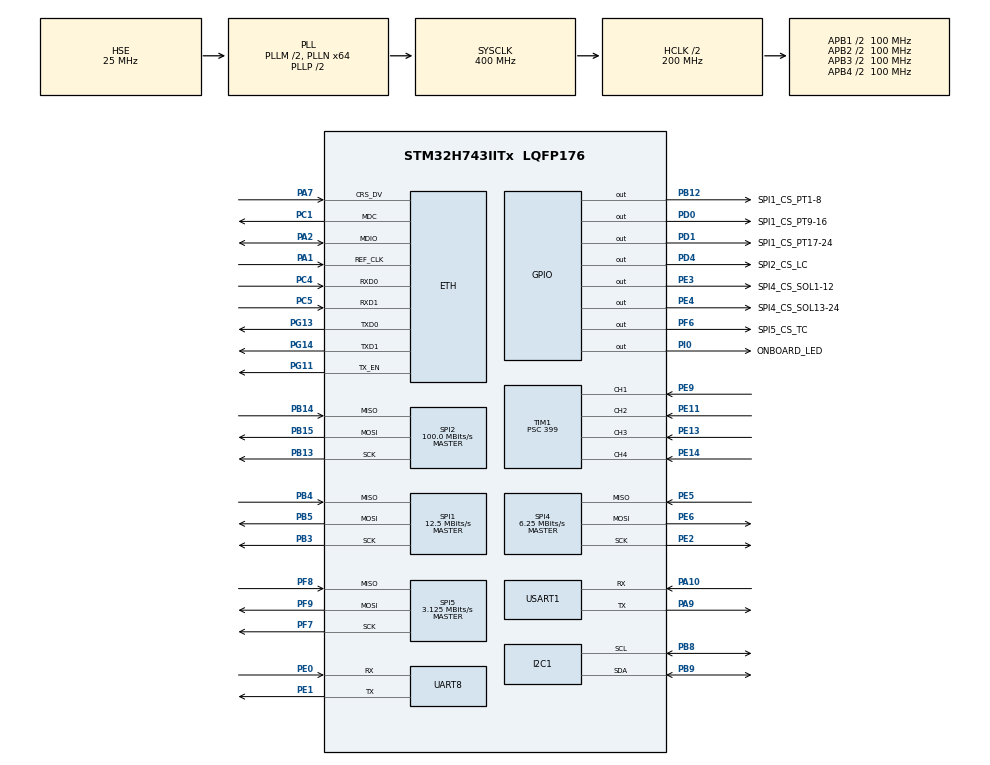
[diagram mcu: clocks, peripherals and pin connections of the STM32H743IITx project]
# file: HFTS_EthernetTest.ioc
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CORTEX_M7.AccessPermission_Spec=MPU_REGION_FULL_ACCESS
CORTEX_M7.BaseAddress_Spec=0x30000000
CORTEX_M7.CPU_DCache=Enabled
CORTEX_M7.CPU_ICache=Enabled
CORTEX_M7.Size_Spec=MPU_REGION_SIZE_64KB
CORTEX_M7.SubRegionDisable_Spec=0x00
CORTEX_M7.default_mode_Activation=1
ETH.MACAddr=02\:00\:00\:00\:00\:01
ETH.MediaInterface=HAL_ETH_RMII_MODE
I2C1.Timing=0x10C0ECFF
LWIP.BSP.number=1
LWIP.ETH_PAD_SIZE=2
LWIP.IP_ADDRESS=192.168.001.050
LWIP.LWIP_DHCP=0
LWIP.MEM_SIZE=16384
LWIP.NETMASK_ADDRESS=255.255.255.000
LWIP.Version=v2.1.2_Cube
LWIP0.BSP.STBoard=false
LWIP0.BSP.api=BSP_COMPONENT_DRIVER
LWIP0.BSP.component=USER_PHY
LWIP0.BSP.instance=USER_PHY
LWIP0.BSP.name=Driver_PHY
LWIP0.BSP.semaphore=S_USER_PHY
LWIP0.BSP.solution=USER_PHY
Mcu.Family=STM32H7
Mcu.Name=STM32H743IITx
Mcu.Package=LQFP176
Mcu.UserConstants=I2C1_BUS_HZ,100000;TMP117_ADDRESS,0b1001000x
NVIC.ETH_IRQn=true\:0\:0\:false\:false\:true\:true\:true\:true
NVIC.PriorityGroup=NVIC_PRIORITYGROUP_4
NVIC.TIM1_CC_IRQn=true\:0\:0\:false\:false\:true\:true\:true\:true
PA1.Mode=RMII
PA1.Signal=ETH_REF_CLK
PA10.Mode=Asynchronous
PA10.Signal=USART1_RX
PA13\ (JTMS/SWDIO).Mode=Serial_Wire
PA13\ (JTMS/SWDIO).Signal=DEBUG_JTMS-SWDIO
PA14\ (JTCK/SWCLK).Mode=Serial_Wire
PA14\ (JTCK/SWCLK).Signal=DEBUG_JTCK-SWCLK
PA2.Mode=RMII
PA2.Signal=ETH_MDIO
PA7.Mode=RMII
PA7.Signal=ETH_CRS_DV
PA9.Mode=Asynchronous
PA9.Signal=USART1_TX
PB12.GPIO_Label=SPI1_CS_PT1-8
PB12.PinState=GPIO_PIN_SET
PB12.Signal=GPIO_Output
PB13.Mode=Full_Duplex_Master
PB13.Signal=SPI2_SCK
PB14.Mode=Full_Duplex_Master
PB14.Signal=SPI2_MISO
PB15.Mode=Full_Duplex_Master
PB15.Signal=SPI2_MOSI
PB3\ (JTDO/TRACESWO).Mode=Full_Duplex_Master
PB3\ (JTDO/TRACESWO).Signal=SPI1_SCK
PB4\ (NJTRST).Mode=Full_Duplex_Master
PB4\ (NJTRST).Signal=SPI1_MISO
PB5.Mode=Full_Duplex_Master
PB5.Signal=SPI1_MOSI
PB8.Mode=I2C
PB8.Signal=I2C1_SCL
PB9.Mode=I2C
PB9.Signal=I2C1_SDA
PC1.Mode=RMII
PC1.Signal=ETH_MDC
PC4.Mode=RMII
PC4.Signal=ETH_RXD0
PC5.Mode=RMII
PC5.Signal=ETH_RXD1
PD0.GPIO_Label=SPI1_CS_PT9-16
PD0.PinState=GPIO_PIN_SET
PD0.Signal=GPIO_Output
PD1.GPIO_Label=SPI1_CS_PT17-24
PD1.PinState=GPIO_PIN_SET
PD1.Signal=GPIO_Output
PD4.GPIO_Label=SPI2_CS_LC
PD4.PinState=GPIO_PIN_SET
PD4.Signal=GPIO_Output
PE0.Mode=Asynchronous
PE0.Signal=UART8_RX
PE1.Mode=Asynchronous
PE1.Signal=UART8_TX
PE11.Signal=S_TIM1_CH2
PE13.Signal=S_TIM1_CH3
PE14.Signal=S_TIM1_CH4
PE2.Mode=Full_Duplex_Master
PE2.Signal=SPI4_SCK
PE3.GPIO_Label=SPI4_CS_SOL1-12
PE3.PinState=GPIO_PIN_SET
PE3.Signal=GPIO_Output
PE4.GPIO_Label=SPI4_CS_SOL13-24
PE4.PinState=GPIO_PIN_SET
PE4.Signal=GPIO_Output
PE5.Mode=Full_Duplex_Master
PE5.Signal=SPI4_MISO
PE6.Mode=Full_Duplex_Master
PE6.Signal=SPI4_MOSI
PE9.Signal=S_TIM1_CH1
PF6.GPIO_Label=SPI5_CS_TC
PF6.PinState=GPIO_PIN_SET
PF6.Signal=GPIO_Output
PF7.Mode=Full_Duplex_Master
PF7.Signal=SPI5_SCK
PF8.Mode=Full_Duplex_Master
PF8.Signal=SPI5_MISO
PF9.Mode=Full_Duplex_Master
PF9.Signal=SPI5_MOSI
PG11.Mode=RMII
PG11.Signal=ETH_TX_EN
PG13.Mode=RMII
PG13.Signal=ETH_TXD0
PG14.Mode=RMII
PG14.Signal=ETH_TXD1
PH0-OSC_IN\ (PH0).Mode=HSE-External-Oscillator
PH0-OSC_IN\ (PH0).Signal=RCC_OSC_IN
PH1-OSC_OUT\ (PH1).Mode=HSE-External-Oscillator
PH1-OSC_OUT\ (PH1).Signal=RCC_OSC_OUT
PI0.GPIO_Label=ONBOARD_LED
PI0.Signal=GPIO_Output
ProjectManager.HeapSize=0x200
ProjectManager.StackSize=0x400
ProjectManager.TargetToolchain=STM32CubeIDE
RCC.ADCFreq_Value=50000000
RCC.APB1Freq_Value=100000000
RCC.APB2Freq_Value=100000000
RCC.APB3Freq_Value=100000000
RCC.APB4Freq_Value=100000000
RCC.CortexFreq_Value=400000000
RCC.D1PPRE=RCC_APB3_DIV2
RCC.D2PPRE1=RCC_APB1_DIV2
RCC.D2PPRE2=RCC_APB2_DIV2
RCC.D3PPRE=RCC_APB4_DIV2
RCC.DIVM1=2
RCC.DIVM2=2
RCC.DIVN1=64
RCC.DIVN2=16
RCC.DIVP2=4
RCC.DIVQ1=4
RCC.DIVQ2=4
RCC.HCLKFreq_Value=200000000
RCC.HPRE=RCC_HCLK_DIV2
RCC.PLL2FRACN=0
RCC.PLL3FRACN=0
RCC.PLLFRACN=0
RCC.PLLSourceVirtual=RCC_PLLSOURCE_HSE
RCC.SYSCLKFreq_VALUE=400000000
RCC.SYSCLKSource=RCC_SYSCLKSOURCE_PLLCLK
RCC.Spi45ClockSelection=RCC_SPI45CLKSOURCE_PLL2
RCC.USBFreq_Value=200000000
SH.S_TIM1_CH1.0=TIM1_CH1,Input_Capture1_from_TI1
SH.S_TIM1_CH2.0=TIM1_CH2,Input_Capture2_from_TI2
SH.S_TIM1_CH3.0=TIM1_CH3,Input_Capture3_from_TI3
SH.S_TIM1_CH4.0=TIM1_CH4,Input_Capture4_from_TI4
SPI1.BaudRatePrescaler=SPI_BAUDRATEPRESCALER_16
SPI1.CalculateBaudRate=12.5 MBits/s
SPI1.Direction=SPI_DIRECTION_2LINES
SPI1.Mode=SPI_MODE_MASTER
SPI1.VirtualType=VM_MASTER
SPI2.CalculateBaudRate=100.0 MBits/s
SPI2.Direction=SPI_DIRECTION_2LINES
SPI2.Mode=SPI_MODE_MASTER
SPI2.VirtualType=VM_MASTER
SPI4.BaudRatePrescaler=SPI_BAUDRATEPRESCALER_8
SPI4.CalculateBaudRate=6.25 MBits/s
SPI4.Direction=SPI_DIRECTION_2LINES
SPI4.Mode=SPI_MODE_MASTER
SPI4.VirtualType=VM_MASTER
SPI5.BaudRatePrescaler=SPI_BAUDRATEPRESCALER_16
SPI5.CalculateBaudRate=3.125 MBits/s
SPI5.Direction=SPI_DIRECTION_2LINES
SPI5.Mode=SPI_MODE_MASTER
SPI5.VirtualType=VM_MASTER
TIM1.Channel-Input_Capture1_from_TI1=TIM_CHANNEL_1
TIM1.Channel-Input_Capture2_from_TI2=TIM_CHANNEL_2
TIM1.Channel-Input_Capture3_from_TI3=TIM_CHANNEL_3
TIM1.Channel-Input_Capture4_from_TI4=TIM_CHANNEL_4
TIM1.ICFilter_CH1=2
TIM1.Prescaler=399
USART1.VirtualMode-Asynchronous=VM_ASYNC
VP_LWIP_VS_Enabled.Mode=Enabled
VP_MEMORYMAP_VS_MEMORYMAP.Mode=CurAppReg
VP_TIM1_VS_ClockSourceINT.Mode=Internal
board=custom

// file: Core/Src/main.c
/* USER CODE BEGIN Header */
/**
  ******************************************************************************
  * @file           : main.c
  * @brief          : Main program body
  ******************************************************************************
  * @attention
  *
  * Copyright (c) 2026 STMicroelectronics.
  * All rights reserved.
  *
  * This software is licensed under terms that can be found in the LICENSE file
  * in the root directory of this software component.
  * If no LICENSE file comes with this software, it is provided AS-IS.
  *
  ******************************************************************************
  */
/* USER CODE END Header */
#include "main.h"
#include "lwip.h"

/* USER CODE BEGIN Includes */
#include "eth_debug.h"
#include "ksz8081_diag.h"
/* Access LwIP netif for gratuitous ARP */
#include "lwip/etharp.h"
extern struct netif gnetif;
/* USER CODE END Includes */

I2C_HandleTypeDef hi2c1;

SPI_HandleTypeDef hspi1;
SPI_HandleTypeDef hspi2;
SPI_HandleTypeDef hspi4;
SPI_HandleTypeDef hspi5;

TIM_HandleTypeDef htim1;

UART_HandleTypeDef huart8;
UART_HandleTypeDef huart1;

/* USER CODE BEGIN PV */
extern ETH_DMADescTypeDef DMARxDscrTab[];
extern ETH_HandleTypeDef heth;
volatile uint32_t g_rx_desc0_addr = 0;
/* USER CODE END PV */

void SystemClock_Config(void);
void PeriphCommonClock_Config(void);
static void MPU_Config(void);
static void MX_GPIO_Init(void);
static void MX_TIM1_Init(void);
static void MX_I2C1_Init(void);
static void MX_SPI1_Init(void);
static void MX_SPI2_Init(void);
static void MX_SPI4_Init(void);
static void MX_SPI5_Init(void);
static void MX_UART8_Init(void);
static void MX_USART1_UART_Init(void);

int main(void)
{

  /* MPU Configuration--------------------------------------------------------*/
  MPU_Config();

  /* Enable the CPU Cache */

  /* Enable I-Cache---------------------------------------------------------*/
  SCB_EnableICache();

  /* Enable D-Cache---------------------------------------------------------*/
  SCB_EnableDCache();

  /* MCU Configuration--------------------------------------------------------*/

  /* Reset of all peripherals, Initializes the Flash interface and the Systick. */
  HAL_Init();

  /* USER CODE BEGIN Init */
  SCB->CCR &= ~SCB_CCR_UNALIGN_TRP_Msk;
  /* USER CODE END Init */

  /* Configure the system clock */
  SystemClock_Config();

  /* Configure the peripherals common clocks */
  PeriphCommonClock_Config();

  /* Initialize all configured peripherals */
  MX_GPIO_Init();
  MX_TIM1_Init();
  MX_I2C1_Init();
  MX_SPI1_Init();
  MX_SPI2_Init();
  MX_SPI4_Init();
  MX_SPI5_Init();
  MX_UART8_Init();
  MX_USART1_UART_Init();
  MX_LWIP_Init();
  /* USER CODE BEGIN 2 */
  /* Populate g_ksz8081_diag for live-view in debugger. */
  (void)ksz8081_strap_check(NULL);

  /* USER CODE END 2 */

  /* Infinite loop */
  while (1)
  {

    /* USER CODE BEGIN 3 */
	  /* Poll LwIP multiple times so we catch ARP/UDP quickly (before slow PHY reads). */
	  {
	    int poll_i;
	    for (poll_i = 0; poll_i < 20; poll_i++) {
	      MX_LWIP_Process();
	    }
	  }

	  /* --- Live interrupt state sampling --- */
	  g_primask   = __get_PRIMASK();
	  g_basepri   = __get_BASEPRI();
	  g_faultmask = __get_FAULTMASK();

	  /* NVIC pending state for ETH IRQ */
	  g_eth_ispr = NVIC->ISPR[ETH_IRQn / 32];
	  g_eth_iser = NVIC->ISER[ETH_IRQn / 32];
	  g_eth_icer = NVIC->ICER[ETH_IRQn / 32];
	  /* IPR is byte-addressed priorities */
	  g_eth_itype = ((volatile uint8_t*)NVIC->IP)[ETH_IRQn];

	  /* DMA interrupt registers */
	  g_eth_dmacier = ETH->DMACIER;
	  g_eth_dmacsr  = ETH->DMACSR;
	  /* MAC interrupt enable/status */
	  g_eth_macier  = ETH->MACIER;
	  g_eth_macisr  = ETH->MACISR;
	  g_eth_maciasr = ETH->MACISR;

	  /* RX descriptor 0..3 RDES3 (OWN=31, CTXT=30, FD=29, LD=28) */
	  g_rx_desc0_status = DMARxDscrTab[0].DESC0;
	  g_rx_desc0_buffer = DMARxDscrTab[0].DESC2;
	  g_rx_desc0_rdes3  = DMARxDscrTab[0].DESC3;
	  g_rx_desc1_rdes3  = DMARxDscrTab[1].DESC3;
	  g_rx_desc2_rdes3  = DMARxDscrTab[2].DESC3;
	  g_rx_desc3_rdes3  = DMARxDscrTab[3].DESC3;
	  g_rx_desc0_addr = (uint32_t)&DMARxDscrTab[0];
	  g_pa_idr = GPIOA->IDR;
	  g_pc_idr = GPIOC->IDR;

	  /* --- PHY register sampling (every 50th loop to keep main loop fast for ARP/RX) --- */
	  {
	    static uint32_t phy_sample_cnt;
	    if ((++phy_sample_cnt % 50U) == 0U) {
	      uint32_t val;
	      HAL_ETH_ReadPHYRegister(&heth, 0, 0x00, &val);
	      g_phy_reg0 = val;
	      HAL_ETH_ReadPHYRegister(&heth, 0, 0x01, &val);
	      g_phy_reg1 = val;
	      HAL_ETH_ReadPHYRegister(&heth, 0, 0x1F, &val);
	      g_phy_reg1F = val;
	    }
	  }

	  uint32_t now_ms = HAL_GetTick();

	  /* Send gratuitous ARP every 1s so PC learns 192.168.1.50 -> our MAC (works even if RX is broken). */
	  {
	    static uint32_t last_garp_ms;
	    if (g_link_up && (now_ms - last_garp_ms >= 1000U)) {
	      etharp_gratuitous(&gnetif);
	      last_garp_ms = now_ms;
	    }
	  }

	  /* --- RMII digital pin sampling --- */
	  g_rmii_crs_dv = (GPIOA->IDR >> 7) & 1U;
	  g_rmii_rxd0   = (GPIOC->IDR >> 4) & 1U;
	  g_rmii_rxd1   = (GPIOC->IDR >> 5) & 1U;

	  /* --- RX descriptor inspection --- */
	  g_rx_desc0_d0 = DMARxDscrTab[0].DESC0;
	  g_rx_desc0_d1 = DMARxDscrTab[0].DESC1;
	  g_rx_desc0_d2 = DMARxDscrTab[0].DESC2;
	  g_rx_desc0_d3 = DMARxDscrTab[0].DESC3;
  }
  /* USER CODE END 3 */
}

void SystemClock_Config(void)
{
  RCC_OscInitTypeDef RCC_OscInitStruct = {0};
  RCC_ClkInitTypeDef RCC_ClkInitStruct = {0};

  /** Supply configuration update enable
  */
  HAL_PWREx_ConfigSupply(PWR_LDO_SUPPLY);

  /** Configure the main internal regulator output voltage
  */
  __HAL_PWR_VOLTAGESCALING_CONFIG(PWR_REGULATOR_VOLTAGE_SCALE1);

  while(!__HAL_PWR_GET_FLAG(PWR_FLAG_VOSRDY)) {}

  /** Initializes the RCC Oscillators according to the specified parameters
  * in the RCC_OscInitTypeDef structure.
  */
  RCC_OscInitStruct.OscillatorType = RCC_OSCILLATORTYPE_HSE;
  RCC_OscInitStruct.HSEState = RCC_HSE_ON;
  RCC_OscInitStruct.PLL.PLLState = RCC_PLL_ON;
  RCC_OscInitStruct.PLL.PLLSource = RCC_PLLSOURCE_HSE;
  RCC_OscInitStruct.PLL.PLLM = 2;
  RCC_OscInitStruct.PLL.PLLN = 64;
  RCC_OscInitStruct.PLL.PLLP = 2;
  RCC_OscInitStruct.PLL.PLLQ = 4;
  RCC_OscInitStruct.PLL.PLLR = 2;
  RCC_OscInitStruct.PLL.PLLRGE = RCC_PLL1VCIRANGE_3;
  RCC_OscInitStruct.PLL.PLLVCOSEL = RCC_PLL1VCOWIDE;
  RCC_OscInitStruct.PLL.PLLFRACN = 0;
  if (HAL_RCC_OscConfig(&RCC_OscInitStruct) != HAL_OK)
  {
    Error_Handler();
  }

  /** Initializes the CPU, AHB and APB buses clocks
  */
  RCC_ClkInitStruct.ClockType = RCC_CLOCKTYPE_HCLK|RCC_CLOCKTYPE_SYSCLK
                              |RCC_CLOCKTYPE_PCLK1|RCC_CLOCKTYPE_PCLK2
                              |RCC_CLOCKTYPE_D3PCLK1|RCC_CLOCKTYPE_D1PCLK1;
  RCC_ClkInitStruct.SYSCLKSource = RCC_SYSCLKSOURCE_PLLCLK;
  RCC_ClkInitStruct.SYSCLKDivider = RCC_SYSCLK_DIV1;
  RCC_ClkInitStruct.AHBCLKDivider = RCC_HCLK_DIV2;
  RCC_ClkInitStruct.APB3CLKDivider = RCC_APB3_DIV2;
  RCC_ClkInitStruct.APB1CLKDivider = RCC_APB1_DIV2;
  RCC_ClkInitStruct.APB2CLKDivider = RCC_APB2_DIV2;
  RCC_ClkInitStruct.APB4CLKDivider = RCC_APB4_DIV2;

  if (HAL_RCC_ClockConfig(&RCC_ClkInitStruct, FLASH_LATENCY_2) != HAL_OK)
  {
    Error_Handler();
  }
}

void PeriphCommonClock_Config(void)
{
  RCC_PeriphCLKInitTypeDef PeriphClkInitStruct = {0};

  /** Initializes the peripherals clock
  */
  PeriphClkInitStruct.PeriphClockSelection = RCC_PERIPHCLK_SPI4|RCC_PERIPHCLK_SPI5;
  PeriphClkInitStruct.PLL2.PLL2M = 2;
  PeriphClkInitStruct.PLL2.PLL2N = 16;
  PeriphClkInitStruct.PLL2.PLL2P = 4;
  PeriphClkInitStruct.PLL2.PLL2Q = 4;
  PeriphClkInitStruct.PLL2.PLL2R = 2;
  PeriphClkInitStruct.PLL2.PLL2RGE = RCC_PLL2VCIRANGE_3;
  PeriphClkInitStruct.PLL2.PLL2VCOSEL = RCC_PLL2VCOWIDE;
  PeriphClkInitStruct.PLL2.PLL2FRACN = 0;
  PeriphClkInitStruct.Spi45ClockSelection = RCC_SPI45CLKSOURCE_PLL2;
  if (HAL_RCCEx_PeriphCLKConfig(&PeriphClkInitStruct) != HAL_OK)
  {
    Error_Handler();
  }
}

static void MX_I2C1_Init(void)
{

  hi2c1.Instance = I2C1;
  hi2c1.Init.Timing = 0x10C0ECFF;
  hi2c1.Init.OwnAddress1 = 0;
  hi2c1.Init.AddressingMode = I2C_ADDRESSINGMODE_7BIT;
  hi2c1.Init.DualAddressMode = I2C_DUALADDRESS_DISABLE;
  hi2c1.Init.OwnAddress2 = 0;
  hi2c1.Init.OwnAddress2Masks = I2C_OA2_NOMASK;
  hi2c1.Init.GeneralCallMode = I2C_GENERALCALL_DISABLE;
  hi2c1.Init.NoStretchMode = I2C_NOSTRETCH_DISABLE;
  if (HAL_I2C_Init(&hi2c1) != HAL_OK)
  {
    Error_Handler();
  }

  /** Configure Analogue filter
  */
  if (HAL_I2CEx_ConfigAnalogFilter(&hi2c1, I2C_ANALOGFILTER_ENABLE) != HAL_OK)
  {
    Error_Handler();
  }

  /** Configure Digital filter
  */
  if (HAL_I2CEx_ConfigDigitalFilter(&hi2c1, 0) != HAL_OK)
  {
    Error_Handler();
  }

}

static void MX_SPI1_Init(void)
{

  /* SPI1 parameter configuration*/
  hspi1.Instance = SPI1;
  hspi1.Init.Mode = SPI_MODE_MASTER;
  hspi1.Init.Direction = SPI_DIRECTION_2LINES;
  hspi1.Init.DataSize = SPI_DATASIZE_4BIT;
  hspi1.Init.CLKPolarity = SPI_POLARITY_LOW;
  hspi1.Init.CLKPhase = SPI_PHASE_1EDGE;
  hspi1.Init.NSS = SPI_NSS_SOFT;
  hspi1.Init.BaudRatePrescaler = SPI_BAUDRATEPRESCALER_16;
  hspi1.Init.FirstBit = SPI_FIRSTBIT_MSB;
  hspi1.Init.TIMode = SPI_TIMODE_DISABLE;
  hspi1.Init.CRCCalculation = SPI_CRCCALCULATION_DISABLE;
  hspi1.Init.CRCPolynomial = 0x0;
  hspi1.Init.NSSPMode = SPI_NSS_PULSE_ENABLE;
  hspi1.Init.NSSPolarity = SPI_NSS_POLARITY_LOW;
  hspi1.Init.FifoThreshold = SPI_FIFO_THRESHOLD_01DATA;
  hspi1.Init.TxCRCInitializationPattern = SPI_CRC_INITIALIZATION_ALL_ZERO_PATTERN;
  hspi1.Init.RxCRCInitializationPattern = SPI_CRC_INITIALIZATION_ALL_ZERO_PATTERN;
  hspi1.Init.MasterSSIdleness = SPI_MASTER_SS_IDLENESS_00CYCLE;
  hspi1.Init.MasterInterDataIdleness = SPI_MASTER_INTERDATA_IDLENESS_00CYCLE;
  hspi1.Init.MasterReceiverAutoSusp = SPI_MASTER_RX_AUTOSUSP_DISABLE;
  hspi1.Init.MasterKeepIOState = SPI_MASTER_KEEP_IO_STATE_DISABLE;
  hspi1.Init.IOSwap = SPI_IO_SWAP_DISABLE;
  if (HAL_SPI_Init(&hspi1) != HAL_OK)
  {
    Error_Handler();
  }

}

static void MX_SPI2_Init(void)
{

  /* SPI2 parameter configuration*/
  hspi2.Instance = SPI2;
  hspi2.Init.Mode = SPI_MODE_MASTER;
  hspi2.Init.Direction = SPI_DIRECTION_2LINES;
  hspi2.Init.DataSize = SPI_DATASIZE_4BIT;
  hspi2.Init.CLKPolarity = SPI_POLARITY_LOW;
  hspi2.Init.CLKPhase = SPI_PHASE_1EDGE;
  hspi2.Init.NSS = SPI_NSS_SOFT;
  hspi2.Init.BaudRatePrescaler = SPI_BAUDRATEPRESCALER_2;
  hspi2.Init.FirstBit = SPI_FIRSTBIT_MSB;
  hspi2.Init.TIMode = SPI_TIMODE_DISABLE;
  hspi2.Init.CRCCalculation = SPI_CRCCALCULATION_DISABLE;
  hspi2.Init.CRCPolynomial = 0x0;
  hspi2.Init.NSSPMode = SPI_NSS_PULSE_ENABLE;
  hspi2.Init.NSSPolarity = SPI_NSS_POLARITY_LOW;
  hspi2.Init.FifoThreshold = SPI_FIFO_THRESHOLD_01DATA;
  hspi2.Init.TxCRCInitializationPattern = SPI_CRC_INITIALIZATION_ALL_ZERO_PATTERN;
  hspi2.Init.RxCRCInitializationPattern = SPI_CRC_INITIALIZATION_ALL_ZERO_PATTERN;
  hspi2.Init.MasterSSIdleness = SPI_MASTER_SS_IDLENESS_00CYCLE;
  hspi2.Init.MasterInterDataIdleness = SPI_MASTER_INTERDATA_IDLENESS_00CYCLE;
  hspi2.Init.MasterReceiverAutoSusp = SPI_MASTER_RX_AUTOSUSP_DISABLE;
  hspi2.Init.MasterKeepIOState = SPI_MASTER_KEEP_IO_STATE_DISABLE;
  hspi2.Init.IOSwap = SPI_IO_SWAP_DISABLE;
  if (HAL_SPI_Init(&hspi2) != HAL_OK)
  {
    Error_Handler();
  }

}

static void MX_SPI4_Init(void)
{

  /* SPI4 parameter configuration*/
  hspi4.Instance = SPI4;
  hspi4.Init.Mode = SPI_MODE_MASTER;
  hspi4.Init.Direction = SPI_DIRECTION_2LINES;
  hspi4.Init.DataSize = SPI_DATASIZE_4BIT;
  hspi4.Init.CLKPolarity = SPI_POLARITY_LOW;
  hspi4.Init.CLKPhase = SPI_PHASE_1EDGE;
  hspi4.Init.NSS = SPI_NSS_SOFT;
  hspi4.Init.BaudRatePrescaler = SPI_BAUDRATEPRESCALER_8;
  hspi4.Init.FirstBit = SPI_FIRSTBIT_MSB;
  hspi4.Init.TIMode = SPI_TIMODE_DISABLE;
  hspi4.Init.CRCCalculation = SPI_CRCCALCULATION_DISABLE;
  hspi4.Init.CRCPolynomial = 0x0;
  hspi4.Init.NSSPMode = SPI_NSS_PULSE_ENABLE;
  hspi4.Init.NSSPolarity = SPI_NSS_POLARITY_LOW;
  hspi4.Init.FifoThreshold = SPI_FIFO_THRESHOLD_01DATA;
  hspi4.Init.TxCRCInitializationPattern = SPI_CRC_INITIALIZATION_ALL_ZERO_PATTERN;
  hspi4.Init.RxCRCInitializationPattern = SPI_CRC_INITIALIZATION_ALL_ZERO_PATTERN;
  hspi4.Init.MasterSSIdleness = SPI_MASTER_SS_IDLENESS_00CYCLE;
  hspi4.Init.MasterInterDataIdleness = SPI_MASTER_INTERDATA_IDLENESS_00CYCLE;
  hspi4.Init.MasterReceiverAutoSusp = SPI_MASTER_RX_AUTOSUSP_DISABLE;
  hspi4.Init.MasterKeepIOState = SPI_MASTER_KEEP_IO_STATE_DISABLE;
  hspi4.Init.IOSwap = SPI_IO_SWAP_DISABLE;
  if (HAL_SPI_Init(&hspi4) != HAL_OK)
  {
    Error_Handler();
  }

}

static void MX_SPI5_Init(void)
{

  /* SPI5 parameter configuration*/
  hspi5.Instance = SPI5;
  hspi5.Init.Mode = SPI_MODE_MASTER;
  hspi5.Init.Direction = SPI_DIRECTION_2LINES;
  hspi5.Init.DataSize = SPI_DATASIZE_4BIT;
  hspi5.Init.CLKPolarity = SPI_POLARITY_LOW;
  hspi5.Init.CLKPhase = SPI_PHASE_1EDGE;
  hspi5.Init.NSS = SPI_NSS_SOFT;
  hspi5.Init.BaudRatePrescaler = SPI_BAUDRATEPRESCALER_16;
  hspi5.Init.FirstBit = SPI_FIRSTBIT_MSB;
  hspi5.Init.TIMode = SPI_TIMODE_DISABLE;
  hspi5.Init.CRCCalculation = SPI_CRCCALCULATION_DISABLE;
  hspi5.Init.CRCPolynomial = 0x0;
  hspi5.Init.NSSPMode = SPI_NSS_PULSE_ENABLE;
  hspi5.Init.NSSPolarity = SPI_NSS_POLARITY_LOW;
  hspi5.Init.FifoThreshold = SPI_FIFO_THRESHOLD_01DATA;
  hspi5.Init.TxCRCInitializationPattern = SPI_CRC_INITIALIZATION_ALL_ZERO_PATTERN;
  hspi5.Init.RxCRCInitializationPattern = SPI_CRC_INITIALIZATION_ALL_ZERO_PATTERN;
  hspi5.Init.MasterSSIdleness = SPI_MASTER_SS_IDLENESS_00CYCLE;
  hspi5.Init.MasterInterDataIdleness = SPI_MASTER_INTERDATA_IDLENESS_00CYCLE;
  hspi5.Init.MasterReceiverAutoSusp = SPI_MASTER_RX_AUTOSUSP_DISABLE;
  hspi5.Init.MasterKeepIOState = SPI_MASTER_KEEP_IO_STATE_DISABLE;
  hspi5.Init.IOSwap = SPI_IO_SWAP_DISABLE;
  if (HAL_SPI_Init(&hspi5) != HAL_OK)
  {
    Error_Handler();
  }

}

static void MX_TIM1_Init(void)
{

  TIM_ClockConfigTypeDef sClockSourceConfig = {0};
  TIM_MasterConfigTypeDef sMasterConfig = {0};
  TIM_IC_InitTypeDef sConfigIC = {0};

  htim1.Instance = TIM1;
  htim1.Init.Prescaler = 399;
  htim1.Init.CounterMode = TIM_COUNTERMODE_UP;
  htim1.Init.Period = 65535;
  htim1.Init.ClockDivision = TIM_CLOCKDIVISION_DIV1;
  htim1.Init.RepetitionCounter = 0;
  htim1.Init.AutoReloadPreload = TIM_AUTORELOAD_PRELOAD_DISABLE;
  if (HAL_TIM_Base_Init(&htim1) != HAL_OK)
  {
    Error_Handler();
  }
  sClockSourceConfig.ClockSource = TIM_CLOCKSOURCE_INTERNAL;
  if (HAL_TIM_ConfigClockSource(&htim1, &sClockSourceConfig) != HAL_OK)
  {
    Error_Handler();
  }
  if (HAL_TIM_IC_Init(&htim1) != HAL_OK)
  {
    Error_Handler();
  }
  sMasterConfig.MasterOutputTrigger = TIM_TRGO_RESET;
  sMasterConfig.MasterOutputTrigger2 = TIM_TRGO2_RESET;
  sMasterConfig.MasterSlaveMode = TIM_MASTERSLAVEMODE_DISABLE;
  if (HAL_TIMEx_MasterConfigSynchronization(&htim1, &sMasterConfig) != HAL_OK)
  {
    Error_Handler();
  }
  sConfigIC.ICPolarity = TIM_INPUTCHANNELPOLARITY_RISING;
  sConfigIC.ICSelection = TIM_ICSELECTION_DIRECTTI;
  sConfigIC.ICPrescaler = TIM_ICPSC_DIV1;
  sConfigIC.ICFilter = 2;
  if (HAL_TIM_IC_ConfigChannel(&htim1, &sConfigIC, TIM_CHANNEL_1) != HAL_OK)
  {
    Error_Handler();
  }
  sConfigIC.ICFilter = 0;
  if (HAL_TIM_IC_ConfigChannel(&htim1, &sConfigIC, TIM_CHANNEL_2) != HAL_OK)
  {
    Error_Handler();
  }
  if (HAL_TIM_IC_ConfigChannel(&htim1, &sConfigIC, TIM_CHANNEL_3) != HAL_OK)
  {
    Error_Handler();
  }
  if (HAL_TIM_IC_ConfigChannel(&htim1, &sConfigIC, TIM_CHANNEL_4) != HAL_OK)
  {
    Error_Handler();
  }

}

static void MX_UART8_Init(void)
{

  huart8.Instance = UART8;
  huart8.Init.BaudRate = 115200;
  huart8.Init.WordLength = UART_WORDLENGTH_8B;
  huart8.Init.StopBits = UART_STOPBITS_1;
  huart8.Init.Parity = UART_PARITY_NONE;
  huart8.Init.Mode = UART_MODE_TX_RX;
  huart8.Init.HwFlowCtl = UART_HWCONTROL_NONE;
  huart8.Init.OverSampling = UART_OVERSAMPLING_16;
  huart8.Init.OneBitSampling = UART_ONE_BIT_SAMPLE_DISABLE;
  huart8.Init.ClockPrescaler = UART_PRESCALER_DIV1;
  huart8.AdvancedInit.AdvFeatureInit = UART_ADVFEATURE_NO_INIT;
  if (HAL_UART_Init(&huart8) != HAL_OK)
  {
    Error_Handler();
  }
  if (HAL_UARTEx_SetTxFifoThreshold(&huart8, UART_TXFIFO_THRESHOLD_1_8) != HAL_OK)
  {
    Error_Handler();
  }
  if (HAL_UARTEx_SetRxFifoThreshold(&huart8, UART_RXFIFO_THRESHOLD_1_8) != HAL_OK)
  {
    Error_Handler();
  }
  if (HAL_UARTEx_DisableFifoMode(&huart8) != HAL_OK)
  {
    Error_Handler();
  }

}

static void MX_USART1_UART_Init(void)
{

  huart1.Instance = USART1;
  huart1.Init.BaudRate = 115200;
  huart1.Init.WordLength = UART_WORDLENGTH_8B;
  huart1.Init.StopBits = UART_STOPBITS_1;
  huart1.Init.Parity = UART_PARITY_NONE;
  huart1.Init.Mode = UART_MODE_TX_RX;
  huart1.Init.HwFlowCtl = UART_HWCONTROL_NONE;
  huart1.Init.OverSampling = UART_OVERSAMPLING_16;
  huart1.Init.OneBitSampling = UART_ONE_BIT_SAMPLE_DISABLE;
  huart1.Init.ClockPrescaler = UART_PRESCALER_DIV1;
  huart1.AdvancedInit.AdvFeatureInit = UART_ADVFEATURE_NO_INIT;
  if (HAL_UART_Init(&huart1) != HAL_OK)
  {
    Error_Handler();
  }
  if (HAL_UARTEx_SetTxFifoThreshold(&huart1, UART_TXFIFO_THRESHOLD_1_8) != HAL_OK)
  {
    Error_Handler();
  }
  if (HAL_UARTEx_SetRxFifoThreshold(&huart1, UART_RXFIFO_THRESHOLD_1_8) != HAL_OK)
  {
    Error_Handler();
  }
  if (HAL_UARTEx_DisableFifoMode(&huart1) != HAL_OK)
  {
    Error_Handler();
  }

}

static void MX_GPIO_Init(void)
{
  GPIO_InitTypeDef GPIO_InitStruct = {0};

  /* GPIO Ports Clock Enable */
  __HAL_RCC_GPIOE_CLK_ENABLE();
  __HAL_RCC_GPIOF_CLK_ENABLE();
  __HAL_RCC_GPIOH_CLK_ENABLE();
  __HAL_RCC_GPIOC_CLK_ENABLE();
  __HAL_RCC_GPIOA_CLK_ENABLE();
  __HAL_RCC_GPIOB_CLK_ENABLE();
  __HAL_RCC_GPIOI_CLK_ENABLE();
  __HAL_RCC_GPIOD_CLK_ENABLE();
  __HAL_RCC_GPIOG_CLK_ENABLE();

  /*Configure GPIO pin Output Level */
  HAL_GPIO_WritePin(GPIOE, SPI4_CS_SOL1_12_Pin|SPI4_CS_SOL13_24_Pin, GPIO_PIN_SET);

  /*Configure GPIO pin Output Level */
  HAL_GPIO_WritePin(SPI5_CS_TC_GPIO_Port, SPI5_CS_TC_Pin, GPIO_PIN_SET);

  /*Configure GPIO pin Output Level */
  HAL_GPIO_WritePin(SPI1_CS_PT1_8_GPIO_Port, SPI1_CS_PT1_8_Pin, GPIO_PIN_SET);

  /*Configure GPIO pin Output Level */
  HAL_GPIO_WritePin(ONBOARD_LED_GPIO_Port, ONBOARD_LED_Pin, GPIO_PIN_RESET);

  /*Configure GPIO pin Output Level */
  HAL_GPIO_WritePin(GPIOD, SPI1_CS_PT9_16_Pin|SPI1_CS_PT17_24_Pin|SPI2_CS_LC_Pin, GPIO_PIN_SET);

  /*Configure GPIO pins : SPI4_CS_SOL1_12_Pin SPI4_CS_SOL13_24_Pin */
  GPIO_InitStruct.Pin = SPI4_CS_SOL1_12_Pin|SPI4_CS_SOL13_24_Pin;
  GPIO_InitStruct.Mode = GPIO_MODE_OUTPUT_PP;
  GPIO_InitStruct.Pull = GPIO_NOPULL;
  GPIO_InitStruct.Speed = GPIO_SPEED_FREQ_LOW;
  HAL_GPIO_Init(GPIOE, &GPIO_InitStruct);

  /*Configure GPIO pin : SPI5_CS_TC_Pin */
  GPIO_InitStruct.Pin = SPI5_CS_TC_Pin;
  GPIO_InitStruct.Mode = GPIO_MODE_OUTPUT_PP;
  GPIO_InitStruct.Pull = GPIO_NOPULL;
  GPIO_InitStruct.Speed = GPIO_SPEED_FREQ_LOW;
  HAL_GPIO_Init(SPI5_CS_TC_GPIO_Port, &GPIO_InitStruct);

  /*Configure GPIO pin : SPI1_CS_PT1_8_Pin */
  GPIO_InitStruct.Pin = SPI1_CS_PT1_8_Pin;
  GPIO_InitStruct.Mode = GPIO_MODE_OUTPUT_PP;
  GPIO_InitStruct.Pull = GPIO_NOPULL;
  GPIO_InitStruct.Speed = GPIO_SPEED_FREQ_LOW;
  HAL_GPIO_Init(SPI1_CS_PT1_8_GPIO_Port, &GPIO_InitStruct);

  /*Configure GPIO pin : ONBOARD_LED_Pin */
  GPIO_InitStruct.Pin = ONBOARD_LED_Pin;
  GPIO_InitStruct.Mode = GPIO_MODE_OUTPUT_PP;
  GPIO_InitStruct.Pull = GPIO_NOPULL;
  GPIO_InitStruct.Speed = GPIO_SPEED_FREQ_LOW;
  HAL_GPIO_Init(ONBOARD_LED_GPIO_Port, &GPIO_InitStruct);

  /*Configure GPIO pins : SPI1_CS_PT9_16_Pin SPI1_CS_PT17_24_Pin SPI2_CS_LC_Pin */
  GPIO_InitStruct.Pin = SPI1_CS_PT9_16_Pin|SPI1_CS_PT17_24_Pin|SPI2_CS_LC_Pin;
  GPIO_InitStruct.Mode = GPIO_MODE_OUTPUT_PP;
  GPIO_InitStruct.Pull = GPIO_NOPULL;
  GPIO_InitStruct.Speed = GPIO_SPEED_FREQ_LOW;
  HAL_GPIO_Init(GPIOD, &GPIO_InitStruct);

}

 /* MPU Configuration */

void MPU_Config(void)
{
  MPU_Region_InitTypeDef MPU_InitStruct = {0};

  /* Disables the MPU */
  HAL_MPU_Disable();

  /** Initializes and configures the Region and the memory to be protected
  */
  MPU_InitStruct.Enable = MPU_REGION_ENABLE;
  MPU_InitStruct.Number = MPU_REGION_NUMBER0;
  MPU_InitStruct.BaseAddress = 0x30000000;
  MPU_InitStruct.Size = MPU_REGION_SIZE_64KB;
  MPU_InitStruct.SubRegionDisable = 0x00;
  MPU_InitStruct.TypeExtField = MPU_TEX_LEVEL0;
  MPU_InitStruct.AccessPermission = MPU_REGION_FULL_ACCESS;
  MPU_InitStruct.DisableExec = MPU_INSTRUCTION_ACCESS_DISABLE;
  MPU_InitStruct.IsShareable = MPU_ACCESS_SHAREABLE;
  MPU_InitStruct.IsCacheable = MPU_ACCESS_NOT_CACHEABLE;
  MPU_InitStruct.IsBufferable = MPU_ACCESS_NOT_BUFFERABLE;

  HAL_MPU_ConfigRegion(&MPU_InitStruct);
  /* Enables the MPU */
  HAL_MPU_Enable(MPU_PRIVILEGED_DEFAULT);

}

void Error_Handler(void)
{
  __disable_irq();
  while (1)
  {
  }
}
